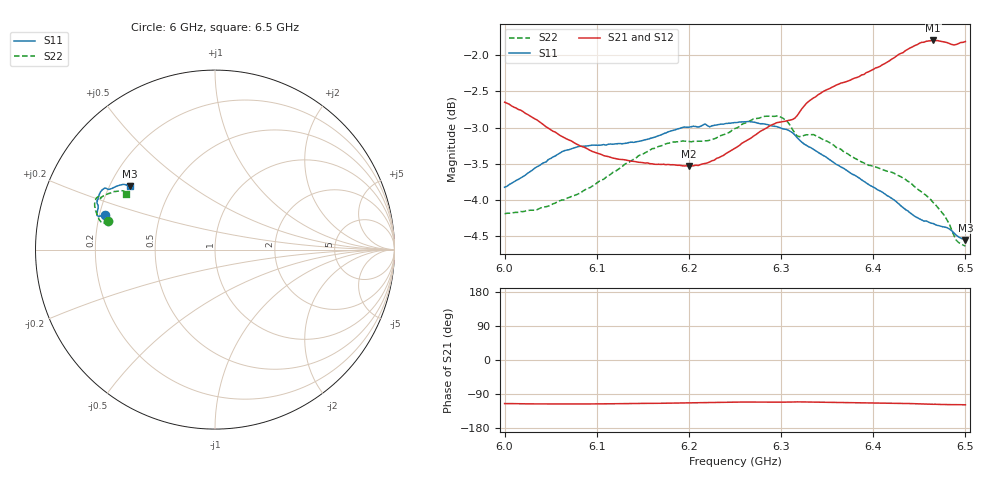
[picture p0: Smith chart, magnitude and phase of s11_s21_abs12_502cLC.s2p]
! MS46122B
! 1919307/90821646
! 7/29/2022 1:50:29 PM
! C:\USERS\PC_\DESKTOP\MEDICIONES\BANCHA ESTRECHA\6_65_GHZ\S11_S21_ABS12_502CL.S2P
! CHANNEL.1
! TR.MEASUREMENT
! CORRECTED.DATA
# GHZ S RI R 50.0
! FREQ.GHZ  S11RE  S11IM  S21RE  S21IM  S12RE  S12IM  S22RE  S22IM
!; PortSelection: Port_12
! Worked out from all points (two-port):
!   201 points, 6 GHz to 6.5 GHz, reference 50 ohm
!   highest |S21| = -1.79 dB at 6.465 GHz (marker M1); lowest = -3.5 dB at 6.2 GHz (marker M2)
!   |S21| within 3 dB of the highest: start of sweep to end of sweep
!   lowest |S11| = -4.6 dB at 6.5 GHz (marker M3), VSWR 3.90, Z = 14.1 + j15.3 ohm
!   |S11| at or under -10 dB: nowhere
!   |S22| runs from -4.6 to -2.8 dB; largest |S21 - S12| = 0.019
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6  -0.6148 0.191  -0.3113 -0.6682  -0.3021 -0.6649  -0.5959 0.1607
6.035  -0.6382 0.1868  -0.3135 -0.6446  -0.3087 -0.6392  -0.6001 0.1603
6.0625  -0.6548 0.1887  -0.3092 -0.6256  -0.3015 -0.6179  -0.6125 0.1515
6.085  -0.6582 0.1969  -0.302 -0.6167  -0.2918 -0.6099  -0.6228 0.1469
6.11  -0.654 0.2153  -0.2912 -0.6105  -0.2808 -0.6032  -0.6357 0.1541
6.1675  -0.6532 0.2489  -0.2736 -0.6092  -0.2591 -0.6053  -0.6582 0.1973
6.2  -0.6573 0.2641  -0.2626 -0.6119  -0.2467 -0.612  -0.6611 0.2062
6.23  -0.6521 0.2831  -0.2507 -0.6258  -0.2357 -0.6269  -0.663 0.2132
6.25  -0.6456 0.3041  -0.2465 -0.639  -0.2334 -0.6427  -0.6683 0.2306
6.2825  -0.6305 0.3304  -0.2532 -0.6595  -0.2404 -0.6642  -0.6683 0.2701
6.2975  -0.6231 0.3368  -0.2578 -0.6657  -0.2455 -0.671  -0.6615 0.2864
6.3075  -0.6172 0.3412  -0.258 -0.6678  -0.246 -0.6737  -0.6495 0.2961
6.315  -0.61 0.3425  -0.2548 -0.6721  -0.2425 -0.6787  -0.6378 0.2924
6.32  -0.6048 0.3406  -0.2565 -0.6787  -0.24 -0.6872  -0.6366 0.2857
6.335  -0.5957 0.3359  -0.2666 -0.6925  -0.254 -0.7003  -0.6373 0.2899
6.385  -0.5498 0.3526  -0.2979 -0.7078  -0.2892 -0.7195  -0.5948 0.3114
6.4175  -0.5204 0.3622  -0.3175 -0.7204  -0.3111 -0.7299  -0.5786 0.318
6.44  -0.5005 0.3627  -0.3391 -0.7286  -0.3366 -0.7373  -0.5626 0.3236
6.465  -0.4905 0.3587  -0.3677 -0.7255  -0.3638 -0.7317  -0.537 0.3263
6.4825  -0.4836 0.3593  -0.378 -0.7157  -0.3763 -0.7177  -0.5115 0.3273
6.49  -0.4774 0.3577  -0.3766 -0.715  -0.3751 -0.7165  -0.5 0.3166
6.5  -0.4761 0.3517  -0.384 -0.7154  -0.3816 -0.7154  -0.4975 0.3098
